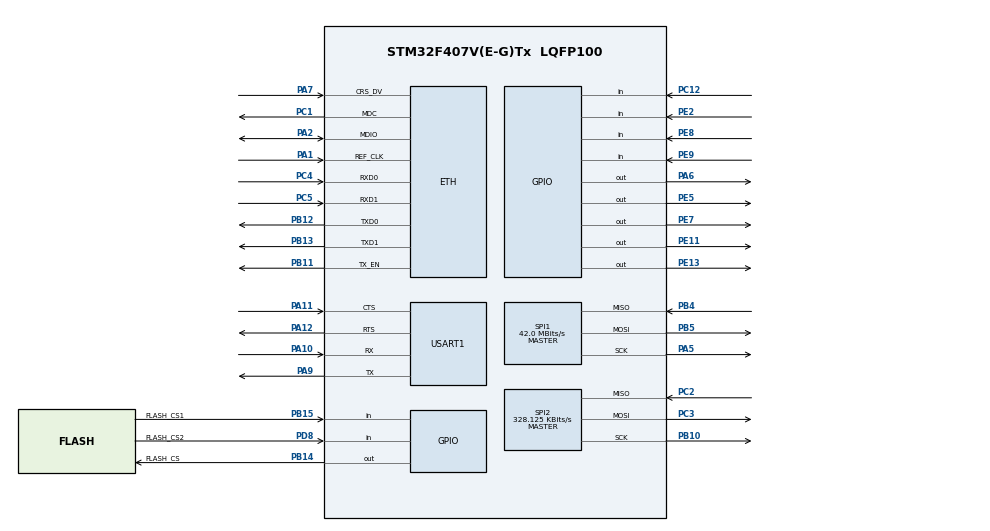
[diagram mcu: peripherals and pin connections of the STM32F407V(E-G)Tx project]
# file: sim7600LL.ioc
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Dma.Request0=USART1_RX
Dma.USART1_RX.0.Direction=DMA_PERIPH_TO_MEMORY
Dma.USART1_RX.0.FIFOMode=DMA_FIFOMODE_DISABLE
Dma.USART1_RX.0.Instance=DMA2_Stream2
Dma.USART1_RX.0.MemDataAlignment=DMA_MDATAALIGN_BYTE
Dma.USART1_RX.0.MemInc=DMA_MINC_ENABLE
Dma.USART1_RX.0.Mode=DMA_CIRCULAR
Dma.USART1_RX.0.PeriphDataAlignment=DMA_PDATAALIGN_BYTE
Dma.USART1_RX.0.PeriphInc=DMA_PINC_DISABLE
Dma.USART1_RX.0.Priority=DMA_PRIORITY_VERY_HIGH
ETH.MediaInterface=ETH_MEDIA_INTERFACE_RMII
FREERTOS.BinarySemaphores01=InitBinSem,Dynamic,NULL
FREERTOS.CountingSemaphores01=InitCountSem,2,Dynamic,NULL
FREERTOS.Events01=InitEvent,Dynamic,NULL
FREERTOS.Queues01=InitQueue,16,uint16_t,0,Dynamic,NULL,NULL
FREERTOS.Tasks01=defaultTask,24,256,StartDefaultTask,Default,NULL,Dynamic,NULL,NULL
FREERTOS.Timers01=InitTimerPeriodic,CallbackTimerPeriodic,osTimerPeriodic,Default,NULL,Dynamic,NULL;InitTimerOnce,CallbackTimerOnce,osTimerOnce,Default,NULL,Dynamic,NULL
FREERTOS.configGENERATE_RUN_TIME_STATS=1
FREERTOS.configRECORD_STACK_HIGH_ADDRESS=1
FREERTOS.configTOTAL_HEAP_SIZE=20360
FREERTOS.configUSE_NEWLIB_REENTRANT=1
FREERTOS.configUSE_STATS_FORMATTING_FUNCTIONS=1
FREERTOS.configUSE_TRACE_FACILITY=1
LWIP.LWIP_DNS=1
LWIP.MEMP_NUM_TCP_PCB=4
LWIP.Version=v2.1.2_Cube
Mcu.Family=STM32F4
Mcu.Name=STM32F407V(E-G)Tx
Mcu.Package=LQFP100
NVIC.DMA2_Stream2_IRQn=true\:5\:0\:false\:false\:true\:true\:false\:true
NVIC.ETH_IRQn=true\:5\:0\:false\:false\:true\:true\:false\:true
NVIC.PriorityGroup=NVIC_PRIORITYGROUP_4
NVIC.TIM1_UP_TIM10_IRQn=true\:15\:0\:false\:false\:true\:false\:false\:true
NVIC.TIM8_UP_TIM13_IRQn=true\:5\:0\:false\:false\:true\:true\:true\:true
NVIC.TimeBase=TIM1_UP_TIM10_IRQn
NVIC.TimeBaseIP=TIM1
PA1.Mode=RMII
PA1.Signal=ETH_REF_CLK
PA10.Mode=Asynchronous
PA10.Signal=USART1_RX
PA11.Mode=CTS_RTS
PA11.Signal=USART1_CTS
PA12.Mode=CTS_RTS
PA12.Signal=USART1_RTS
PA2.Mode=RMII
PA2.Signal=ETH_MDIO
PA5.Mode=Full_Duplex_Master
PA5.Signal=SPI1_SCK
PA6.PinState=GPIO_PIN_SET
PA6.Signal=GPIO_Output
PA7.Mode=RMII
PA7.Signal=ETH_CRS_DV
PA9.Mode=Asynchronous
PA9.Signal=USART1_TX
PB10.Mode=Full_Duplex_Master
PB10.Signal=SPI2_SCK
PB11.Mode=RMII
PB11.Signal=ETH_TX_EN
PB12.Mode=RMII
PB12.Signal=ETH_TXD0
PB13.Mode=RMII
PB13.Signal=ETH_TXD1
PB14.GPIO_Label=FLASH_CS
PB14.GPIO_PuPd=GPIO_PULLUP
PB14.GPIO_Speed=GPIO_SPEED_FREQ_VERY_HIGH
PB14.PinState=GPIO_PIN_SET
PB14.Signal=GPIO_Output
PB15.GPIO_Label=FLASH_CS1
PB15.Signal=GPIO_Input
PB4.Mode=Full_Duplex_Master
PB4.Signal=SPI1_MISO
PB5.Mode=Full_Duplex_Master
PB5.Signal=SPI1_MOSI
PC1.Mode=RMII
PC1.Signal=ETH_MDC
PC12.GPIO_PuPd=GPIO_PULLDOWN
PC12.Signal=GPIO_Input
PC2.Mode=Full_Duplex_Master
PC2.Signal=SPI2_MISO
PC3.Mode=Full_Duplex_Master
PC3.Signal=SPI2_MOSI
PC4.Mode=RMII
PC4.Signal=ETH_RXD0
PC5.Mode=RMII
PC5.Signal=ETH_RXD1
PD8.GPIO_Label=FLASH_CS2
PD8.Signal=GPIO_Input
PE11.GPIO_Speed=GPIO_SPEED_FREQ_VERY_HIGH
PE11.PinState=GPIO_PIN_SET
PE11.Signal=GPIO_Output
PE13.GPIO_Speed=GPIO_SPEED_FREQ_VERY_HIGH
PE13.PinState=GPIO_PIN_SET
PE13.Signal=GPIO_Output
PE2.Signal=GPIO_Input
PE5.Signal=GPIO_Output
PE7.GPIO_Speed=GPIO_SPEED_FREQ_VERY_HIGH
PE7.PinState=GPIO_PIN_SET
PE7.Signal=GPIO_Output
PE8.Signal=GPIO_Input
PE9.Signal=GPIO_Input
PH0-OSC_IN.Mode=HSE-External-Oscillator
PH0-OSC_IN.Signal=RCC_OSC_IN
PH1-OSC_OUT.Mode=HSE-External-Oscillator
PH1-OSC_OUT.Signal=RCC_OSC_OUT
ProjectManager.HeapSize=0x200
ProjectManager.StackSize=0x400
ProjectManager.TargetToolchain=STM32CubeIDE
RCC.48MHZClocksFreq_Value=84000000
RCC.AHBFreq_Value=168000000
RCC.APB1CLKDivider=RCC_HCLK_DIV4
RCC.APB1Freq_Value=42000000
RCC.APB1TimFreq_Value=84000000
RCC.APB2CLKDivider=RCC_HCLK_DIV2
RCC.APB2Freq_Value=84000000
RCC.APB2TimFreq_Value=168000000
RCC.CortexFreq_Value=168000000
RCC.HCLKFreq_Value=168000000
RCC.HSE_VALUE=8000000
RCC.HSI_VALUE=16000000
RCC.LSE_VALUE=32768
RCC.PLLM=4
RCC.PLLN=168
RCC.PLLSourceVirtual=RCC_PLLSOURCE_HSE
RCC.SYSCLKFreq_VALUE=168000000
RCC.SYSCLKSource=RCC_SYSCLKSOURCE_PLLCLK
RCC.VCOOutputFreq_Value=336000000
SPI1.CalculateBaudRate=42.0 MBits/s
SPI1.Direction=SPI_DIRECTION_2LINES
SPI1.Mode=SPI_MODE_MASTER
SPI1.VirtualType=VM_MASTER
SPI2.BaudRatePrescaler=SPI_BAUDRATEPRESCALER_128
SPI2.CLKPhase=SPI_PHASE_2EDGE
SPI2.CLKPolarity=SPI_POLARITY_HIGH
SPI2.CalculateBaudRate=328.125 KBits/s
SPI2.Direction=SPI_DIRECTION_2LINES
SPI2.Mode=SPI_MODE_MASTER
SPI2.VirtualType=VM_MASTER
TIM2.Prescaler=41999
TIM8.Period=1679
USART1.Parity=PARITY_EVEN
USART1.VirtualMode=VM_ASYNC
VP_FREERTOS_VS_CMSIS_V2.Mode=CMSIS_V2
VP_LWIP_VS_Enabled.Mode=Enabled
VP_SYS_VS_tim1.Mode=TIM1
VP_TIM2_VS_ClockSourceINT.Mode=Internal
VP_TIM8_VS_ClockSourceINT.Mode=Internal
board=custom

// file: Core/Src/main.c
/* USER CODE BEGIN Header */
/**
  ******************************************************************************
  * @file           : main.c
  * @brief          : Main program body
  ******************************************************************************
  * @attention
  *
  * <h2><center>&copy; Copyright (c) 2021 STMicroelectronics.
  * All rights reserved.</center></h2>
  *
  * This software component is licensed by ST under Ultimate Liberty license
  * SLA0044, the "License"; You may not use this file except in compliance with
  * the License. You may obtain a copy of the License at:
  *                             www.st.com/SLA0044
  *
  ******************************************************************************
  */
/* USER CODE END Header */
#include "main.h"
#include "cmsis_os.h"
#include "lwip.h"

/* USER CODE BEGIN Includes */
#include "sim7600_uart_dma.h"
#include "tcp_udp_stack.h"
#include "rsa.h"
#include "AES_128.h"
#include "md5.h"
#include "ethLAN.h"
#include "vs1063a.h"
#include "w25qxx.h"
/* USER CODE END Includes */

/* USER CODE BEGIN PTD */
uint8_t bufferwq1[8] = {0,2,3,4,5,6,0,255};
uint8_t bufferwq2[8] = {0};
/* USER CODE END PTD */

SPI_HandleTypeDef hspi1;
SPI_HandleTypeDef hspi2;

TIM_HandleTypeDef htim2;
TIM_HandleTypeDef htim8;

/* Definitions for defaultTask */
osThreadId_t defaultTaskHandle;
const osThreadAttr_t defaultTask_attributes = {
  .name = "defaultTask",
  .stack_size = 256 * 4,
  .priority = (osPriority_t) osPriorityNormal,
};
/* Definitions for InitQueue */
osMessageQueueId_t InitQueueHandle;
const osMessageQueueAttr_t InitQueue_attributes = {
  .name = "InitQueue"
};
/* Definitions for InitTimerPeriodic */
osTimerId_t InitTimerPeriodicHandle;
const osTimerAttr_t InitTimerPeriodic_attributes = {
  .name = "InitTimerPeriodic"
};
/* Definitions for InitTimerOnce */
osTimerId_t InitTimerOnceHandle;
const osTimerAttr_t InitTimerOnce_attributes = {
  .name = "InitTimerOnce"
};
/* Definitions for InitBinSem */
osSemaphoreId_t InitBinSemHandle;
const osSemaphoreAttr_t InitBinSem_attributes = {
  .name = "InitBinSem"
};
/* Definitions for InitCountSem */
osSemaphoreId_t InitCountSemHandle;
const osSemaphoreAttr_t InitCountSem_attributes = {
  .name = "InitCountSem"
};
/* Definitions for InitEvent */
osEventFlagsId_t InitEventHandle;
const osEventFlagsAttr_t InitEvent_attributes = {
  .name = "InitEvent"
};
/* USER CODE BEGIN PV */

///// Task  ////
osThreadId_t configSimTaskHandle;
const osThreadAttr_t configSimTask_attributes = {
  .name = "configSimTask",
  .stack_size = 128 * 8,
  .priority = (osPriority_t) osPriorityHigh3,
};

osThreadId_t connectSimTaskHandle;
const osThreadAttr_t connectSimTask_attributes = {
  .name = "connectSimTask",
  .stack_size = 128 * 8,
  .priority = (osPriority_t) osPriorityHigh2,
};

osThreadId_t sendSimTaskHandle;
const osThreadAttr_t sendSimTask_attributes = {
  .name = "sendSimTask",
  .stack_size = 128 * 8,
  .priority = (osPriority_t) osPriorityHigh1,
};

osThreadId_t recvSimTaskHandle;
const osThreadAttr_t recvSimTask_attributes = {
  .name = "recvSimTask",
  .stack_size = 1024 * 4 ,
  .priority = (osPriority_t) osPriorityRealtime,
};

osThreadId_t connectEthTaskId;
const osThreadAttr_t connectEthTask_attributes = {
  .name = "connectEthTask",
  .stack_size = 1024 * 4,
  .priority = (osPriority_t) osPriorityHigh,
};

osThreadId_t sendEthTaskId;
const osThreadAttr_t sendEthTask_attributes = {
  .name = "sendEthTask",
  .stack_size = 256 * 4,
  .priority = (osPriority_t) osPriorityHigh,
};

osThreadId_t recvEthTaskId;
const osThreadAttr_t recvEthTask_attributes = {
  .name = "recvEthTask",
  .stack_size = 1024 * 4 ,
  .priority = (osPriority_t) osPriorityHigh,
};

osThreadId_t vs1063TaskId;
const osThreadAttr_t vs1063Task_attributes = {
  .name = "vs1063Task",
  .stack_size = 256 * 4 ,
  .priority = (osPriority_t) osPriorityHigh, //==recvETH recvSim task
};
////////////////////////////////////////

/// Event flags  ///

/* bit order  4 3 2 1 0 , priority MSB->LSB
              firstConfig NetError  Calling sendErrorOrIPclose Message
*/
// enum configSimFlagEnum {msg, calling, netError, firstConfig}; //in sim7600 .h
osEventFlagsId_t ConfigSimEventID;
const osEventFlagsAttr_t ConfigSimEvent_attributes = {
  .name = "ConfigSimEvent"
};

//recvACK recvRSA reconnect
//2 1 0
// enum connectSimFlagEnum {reConEnum, recvRSAEnum, recvACKEnum}; //in sim7600 .h

osEventFlagsId_t ConnectSimEventID;
const osEventFlagsAttr_t ConnectSimEvent_attributes = {
  .name = "ConnectSimEvent"
};

/* bit order  0
              sendSuccess
*/
osEventFlagsId_t SendSimEventID;
const osEventFlagsAttr_t SendSimEvent_attributes = {
  .name = "SendSimEvent"
};

osEventFlagsId_t ConnectEthEventID;
const osEventFlagsAttr_t ConnectEthEvent_attributes = {
  .name = "ConnectEthEvent"
};

////////////////////////

/// Semaphore ///
osSemaphoreId_t SimATBinSem;
const osSemaphoreAttr_t SimATBinSem_attributes = {
  .name = "SimATBinSem"
};
////////////////////////

//// Message queue //
osMessageQueueId_t SendSimQueueID;
const osMessageQueueAttr_t SendSimQueue_attributes = {
  .name = "SendSimQueue"
};

osMessageQueueId_t SendEthQueueID;
const osMessageQueueAttr_t SendEthQueue_attributes = {
  .name = "SendEthQueue"
};
//////////////////////////

///// mutex ///////////
osMutexId_t spiFlash_mtID;
const osMutexAttr_t spiFlash_mtAttr = {
  .name="spiFlash"                          // human readable mutex name
};

osMutexId_t buffTcpPacket_mtID;
const osMutexAttr_t buffTcpPacket_mtAttr = {
  .name="buff_tcppacket"                          // human readable mutex name
};
//  .attr_bits=osMutexPrioInherit | osMutexRobust,    // attr_bits
//  .cb_mem=NULL,                                     // memory for control block
//  .cb_size=0U                                        // size for control block
//};
//////////////////////////

///// timer ///////////
osTimerId_t TCPTimerOnceID; //timer for time-out handshake and KeepAlive

//debug
osTimerId_t SttCheckTimerID; //timer for check sim status
#define STT_CHECK_TIMER_INTERVAL 10 //ms
int oldSimStt = -1;
void SimStt_Timer_Callback(void *argument)
{
  if(Sim_STT != oldSimStt)
  {
    oldSimStt = Sim_STT;
    LOG_WRITE("sim status %d\n", oldSimStt);
  }
}

///////////////////////

////////////////////////

/* USER CODE END PV */

void SystemClock_Config(void);
static void MX_GPIO_Init(void);
static void MX_DMA_Init(void);
static void MX_USART1_UART_Init(void);
static void MX_TIM2_Init(void);
static void MX_TIM8_Init(void);
static void MX_SPI2_Init(void);
static void MX_SPI1_Init(void);
void StartDefaultTask(void *argument);
void CallbackTimerPeriodic(void *argument);
void CallbackTimerOnce(void *argument);

/* USER CODE BEGIN PFP */
//char* DeviceID = "123456781234567812345679";
char* DeviceID =   "000000000000000220300002";
// #if DEBUG_LOG
int _write(int32_t file, uint8_t *ptr, int32_t len)
{
    for (int i = 0; i < len; i++)
    {
        ITM_SendChar(*ptr++);
    }
    return len;
}
// extern void initialise_monitor_handles();
// #endif

volatile unsigned long ulHighFrequencyTimerTicks;

void configureTimerForRunTimeStats(void) {
  ulHighFrequencyTimerTicks = 0;
  HAL_TIM_Base_Start_IT(&htim8);
}

unsigned long getRunTimeCounterValue(void) {
  return ulHighFrequencyTimerTicks;
}
/* USER CODE END PFP */

/* USER CODE BEGIN 0 */
extern struct netif gnetif;

  //sim
void StartConfigSimTask(void *argument);
void StartConnectSimTask(void *argument);
void StartSendSimTask(void *argument);
void StartRecvSimTask(void *argument);

  //eth
void StartConnectEthTask(void *argument);
void StartSendEthTask(void *argument);
void StartRecvEthTask(void *argument);

void StartVs1063Task(void *argument);
/* USER CODE END 0 */

int main(void)
{

  /* MCU Configuration--------------------------------------------------------*/

  /* Reset of all peripherals, Initializes the Flash interface and the Systick. */
  HAL_Init();

  /* USER CODE BEGIN Init */
  // initialise_monitor_handles();
  /* USER CODE END Init */

  /* Configure the system clock */
  SystemClock_Config();

  /* USER CODE BEGIN SysInit */
  //HAL_Delay(30000); //wait for debug
  /* USER CODE END SysInit */

  /* Initialize all configured peripherals */
  MX_GPIO_Init();
  MX_DMA_Init();
  MX_USART1_UART_Init();
  MX_TIM2_Init();
  MX_TIM8_Init();
  MX_SPI2_Init();
  MX_SPI1_Init();
  /* USER CODE BEGIN 2 */
//  W25qxx_Init();
//  W25qxx_EraseSector(0);
//  W25qxx_EraseSector(1);
//  W25qxx_EraseSector(2);
//  W25qxx_EraseSector(3);
//  log_init();
//   int jj;
//   for(jj = 0; jj < 1000; jj++) {
//     log_to_flash("hello everyone, my name is bom, how are you\n");
//     if(jj > 0 && jj % 10 == 0) {
//       log_do_erase();
////       W25qxx_WaitBusy(0);
//     }
//   }
//  log_to_flash("hello everyone, my name is bom, how are you\n");
//  log_to_flash("hello everyone, my name is bom, how are you\n");
//  log_to_flash("hello everyone, my name is bom, how are you\n");
//  log_to_flash("hello everyone, my name is bom, how are you\n");
//  log_to_flash("hello everyone, my name is bom, how are you\n");
  char buff_rd[4096];
  int ii;
  W25qxx_ReadSector(buff_rd, 0, 0, 0);
  for(ii = 0; ii < 4096; ii++) {
    printf("%c", buff_rd[ii]);
  }
  printf("\n");
  W25qxx_ReadSector(buff_rd, 1, 0, 0);
  for(ii = 0; ii < 4096; ii++) {
    printf("%c", buff_rd[ii]);
  }
  printf("\n");
  W25qxx_ReadSector(buff_rd, 2, 0, 0);
  for(ii = 0; ii < 4096; ii++) {
    printf("%c", buff_rd[ii]);
  }
  printf("\n");
  W25qxx_ReadSector(buff_rd, 3, 0, 0);
  for(ii = 0; ii < 4096; ii++) {
    printf("%c", buff_rd[ii]);
  }
  printf("\n");
  printf("\n");

  HAL_TIM_Base_Start(&htim2);
  configureTimerForRunTimeStats();

  /* USER CODE END 2 */

  /* Init scheduler */
  osKernelInitialize();

  /* USER CODE BEGIN RTOS_MUTEX */
  /* add mutexes, ... */
  spiFlash_mtID = osMutexNew(&spiFlash_mtAttr);
  buffTcpPacket_mtID = osMutexNew(&buffTcpPacket_mtAttr);
  /* USER CODE END RTOS_MUTEX */

  /* Create the semaphores(s) */
  /* creation of InitBinSem */
  InitBinSemHandle = osSemaphoreNew(1, 1, &InitBinSem_attributes);

  /* creation of InitCountSem */
  InitCountSemHandle = osSemaphoreNew(2, 2, &InitCountSem_attributes);

  /* USER CODE BEGIN RTOS_SEMAPHORES */
  /* add semaphores, ... */
  SimATBinSem = osSemaphoreNew(1, 1, &SimATBinSem_attributes);
  /* USER CODE END RTOS_SEMAPHORES */

  /* Create the timer(s) */
  /* creation of InitTimerPeriodic */
  InitTimerPeriodicHandle = osTimerNew(CallbackTimerPeriodic, osTimerPeriodic, NULL, &InitTimerPeriodic_attributes);

  /* creation of InitTimerOnce */
  InitTimerOnceHandle = osTimerNew(CallbackTimerOnce, osTimerOnce, NULL, &InitTimerOnce_attributes);

  /* USER CODE BEGIN RTOS_TIMERS */
  /* start timers, add new ones, ... */
  TCPTimerOnceID = osTimerNew(TCP_Timer_Callback, osTimerOnce, NULL, NULL);
  SttCheckTimerID = osTimerNew(SimStt_Timer_Callback, osTimerPeriodic, NULL, NULL);
  /* USER CODE END RTOS_TIMERS */

  /* Create the queue(s) */
  /* creation of InitQueue */
  InitQueueHandle = osMessageQueueNew (16, sizeof(uint16_t), &InitQueue_attributes);

  /* Create the thread(s) */
  /* creation of defaultTask */
  defaultTaskHandle = osThreadNew(StartDefaultTask, NULL, &defaultTask_attributes);

  /* Create the event(s) */
  /* creation of InitEvent */
  InitEventHandle = osEventFlagsNew(&InitEvent_attributes);

  /* USER CODE BEGIN RTOS_EVENTS */
  /* add events, ... */

  // SendEthEventID = osEventFlagsNew(&SendEthEvent_attributes);

  /* USER CODE END RTOS_EVENTS */

  /* Start scheduler */
  osKernelStart();

  /* We should never get here as control is now taken by the scheduler */
  /* Infinite loop */
  /* USER CODE BEGIN WHILE */
//  VS1063_Init();
//  VS1063_SoftReset();
  while (1)
  {
//	  VS1063_PlayBeep();
//	  HAL_Delay(500);
    /* USER CODE END WHILE */

  }
}

void SystemClock_Config(void)
{
  LL_FLASH_SetLatency(LL_FLASH_LATENCY_5);
  while(LL_FLASH_GetLatency()!= LL_FLASH_LATENCY_5)
  {
  }
  LL_PWR_SetRegulVoltageScaling(LL_PWR_REGU_VOLTAGE_SCALE1);
  LL_RCC_HSE_Enable();

   /* Wait till HSE is ready */
  while(LL_RCC_HSE_IsReady() != 1)
  {

  }
  LL_RCC_PLL_ConfigDomain_SYS(LL_RCC_PLLSOURCE_HSE, LL_RCC_PLLM_DIV_4, 168, LL_RCC_PLLP_DIV_2);
  LL_RCC_PLL_Enable();

   /* Wait till PLL is ready */
  while(LL_RCC_PLL_IsReady() != 1)
  {

  }
  LL_RCC_SetAHBPrescaler(LL_RCC_SYSCLK_DIV_1);
  LL_RCC_SetAPB1Prescaler(LL_RCC_APB1_DIV_4);
  LL_RCC_SetAPB2Prescaler(LL_RCC_APB2_DIV_2);
  LL_RCC_SetSysClkSource(LL_RCC_SYS_CLKSOURCE_PLL);

   /* Wait till System clock is ready */
  while(LL_RCC_GetSysClkSource() != LL_RCC_SYS_CLKSOURCE_STATUS_PLL)
  {

  }
  LL_SetSystemCoreClock(168000000);

   /* Update the time base */
  if (HAL_InitTick (TICK_INT_PRIORITY) != HAL_OK)
  {
    Error_Handler();
  }
}

static void MX_SPI1_Init(void)
{

  /* SPI1 parameter configuration*/
  hspi1.Instance = SPI1;
  hspi1.Init.Mode = SPI_MODE_MASTER;
  hspi1.Init.Direction = SPI_DIRECTION_2LINES;
  hspi1.Init.DataSize = SPI_DATASIZE_8BIT;
  hspi1.Init.CLKPolarity = SPI_POLARITY_LOW;
  hspi1.Init.CLKPhase = SPI_PHASE_1EDGE;
  hspi1.Init.NSS = SPI_NSS_SOFT;
  hspi1.Init.BaudRatePrescaler = SPI_BAUDRATEPRESCALER_2;
  hspi1.Init.FirstBit = SPI_FIRSTBIT_MSB;
  hspi1.Init.TIMode = SPI_TIMODE_DISABLE;
  hspi1.Init.CRCCalculation = SPI_CRCCALCULATION_DISABLE;
  hspi1.Init.CRCPolynomial = 10;
  if (HAL_SPI_Init(&hspi1) != HAL_OK)
  {
    Error_Handler();
  }

}

static void MX_SPI2_Init(void)
{

  /* SPI2 parameter configuration*/
  hspi2.Instance = SPI2;
  hspi2.Init.Mode = SPI_MODE_MASTER;
  hspi2.Init.Direction = SPI_DIRECTION_2LINES;
  hspi2.Init.DataSize = SPI_DATASIZE_8BIT;
  hspi2.Init.CLKPolarity = SPI_POLARITY_HIGH;
  hspi2.Init.CLKPhase = SPI_PHASE_2EDGE;
  hspi2.Init.NSS = SPI_NSS_SOFT;
  hspi2.Init.BaudRatePrescaler = SPI_BAUDRATEPRESCALER_128;
  hspi2.Init.FirstBit = SPI_FIRSTBIT_MSB;
  hspi2.Init.TIMode = SPI_TIMODE_DISABLE;
  hspi2.Init.CRCCalculation = SPI_CRCCALCULATION_DISABLE;
  hspi2.Init.CRCPolynomial = 10;
  if (HAL_SPI_Init(&hspi2) != HAL_OK)
  {
    Error_Handler();
  }

}

static void MX_TIM2_Init(void)
{

  TIM_ClockConfigTypeDef sClockSourceConfig = {0};
  TIM_MasterConfigTypeDef sMasterConfig = {0};

  htim2.Instance = TIM2;
  htim2.Init.Prescaler = 41999;
  htim2.Init.CounterMode = TIM_COUNTERMODE_UP;
  htim2.Init.Period = 4294967295;
  htim2.Init.ClockDivision = TIM_CLOCKDIVISION_DIV1;
  htim2.Init.AutoReloadPreload = TIM_AUTORELOAD_PRELOAD_DISABLE;
  if (HAL_TIM_Base_Init(&htim2) != HAL_OK)
  {
    Error_Handler();
  }
  sClockSourceConfig.ClockSource = TIM_CLOCKSOURCE_INTERNAL;
  if (HAL_TIM_ConfigClockSource(&htim2, &sClockSourceConfig) != HAL_OK)
  {
    Error_Handler();
  }
  sMasterConfig.MasterOutputTrigger = TIM_TRGO_RESET;
  sMasterConfig.MasterSlaveMode = TIM_MASTERSLAVEMODE_DISABLE;
  if (HAL_TIMEx_MasterConfigSynchronization(&htim2, &sMasterConfig) != HAL_OK)
  {
    Error_Handler();
  }

}

static void MX_TIM8_Init(void)
{

  TIM_ClockConfigTypeDef sClockSourceConfig = {0};
  TIM_MasterConfigTypeDef sMasterConfig = {0};

  htim8.Instance = TIM8;
  htim8.Init.Prescaler = 0;
  htim8.Init.CounterMode = TIM_COUNTERMODE_UP;
  htim8.Init.Period = 1679;
  htim8.Init.ClockDivision = TIM_CLOCKDIVISION_DIV1;
  htim8.Init.RepetitionCounter = 0;
  htim8.Init.AutoReloadPreload = TIM_AUTORELOAD_PRELOAD_DISABLE;
  if (HAL_TIM_Base_Init(&htim8) != HAL_OK)
  {
    Error_Handler();
  }
  sClockSourceConfig.ClockSource = TIM_CLOCKSOURCE_INTERNAL;
  if (HAL_TIM_ConfigClockSource(&htim8, &sClockSourceConfig) != HAL_OK)
  {
    Error_Handler();
  }
  sMasterConfig.MasterOutputTrigger = TIM_TRGO_RESET;
  sMasterConfig.MasterSlaveMode = TIM_MASTERSLAVEMODE_DISABLE;
  if (HAL_TIMEx_MasterConfigSynchronization(&htim8, &sMasterConfig) != HAL_OK)
  {
    Error_Handler();
  }

}

static void MX_USART1_UART_Init(void)
{

  LL_USART_InitTypeDef USART_InitStruct = {0};

  LL_GPIO_InitTypeDef GPIO_InitStruct = {0};

  /* Peripheral clock enable */
  LL_APB2_GRP1_EnableClock(LL_APB2_GRP1_PERIPH_USART1);

  LL_AHB1_GRP1_EnableClock(LL_AHB1_GRP1_PERIPH_GPIOA);
  /**USART1 GPIO Configuration
  PA9   ------> USART1_TX
  PA10   ------> USART1_RX
  PA11   ------> USART1_CTS
  PA12   ------> USART1_RTS
  */
  GPIO_InitStruct.Pin = LL_GPIO_PIN_9|LL_GPIO_PIN_10|LL_GPIO_PIN_11|LL_GPIO_PIN_12;
  GPIO_InitStruct.Mode = LL_GPIO_MODE_ALTERNATE;
  GPIO_InitStruct.Speed = LL_GPIO_SPEED_FREQ_VERY_HIGH;
  GPIO_InitStruct.OutputType = LL_GPIO_OUTPUT_PUSHPULL;
  GPIO_InitStruct.Pull = LL_GPIO_PULL_NO;
  GPIO_InitStruct.Alternate = LL_GPIO_AF_7;
  LL_GPIO_Init(GPIOA, &GPIO_InitStruct);

  /* USART1 DMA Init */

  /* USART1_RX Init */
  LL_DMA_SetChannelSelection(DMA2, LL_DMA_STREAM_2, LL_DMA_CHANNEL_4);

  LL_DMA_SetDataTransferDirection(DMA2, LL_DMA_STREAM_2, LL_DMA_DIRECTION_PERIPH_TO_MEMORY);

  LL_DMA_SetStreamPriorityLevel(DMA2, LL_DMA_STREAM_2, LL_DMA_PRIORITY_VERYHIGH);

  LL_DMA_SetMode(DMA2, LL_DMA_STREAM_2, LL_DMA_MODE_CIRCULAR);

  LL_DMA_SetPeriphIncMode(DMA2, LL_DMA_STREAM_2, LL_DMA_PERIPH_NOINCREMENT);

  LL_DMA_SetMemoryIncMode(DMA2, LL_DMA_STREAM_2, LL_DMA_MEMORY_INCREMENT);

  LL_DMA_SetPeriphSize(DMA2, LL_DMA_STREAM_2, LL_DMA_PDATAALIGN_BYTE);

  LL_DMA_SetMemorySize(DMA2, LL_DMA_STREAM_2, LL_DMA_MDATAALIGN_BYTE);

  LL_DMA_DisableFifoMode(DMA2, LL_DMA_STREAM_2);

  USART_InitStruct.BaudRate = 115200;
  USART_InitStruct.DataWidth = LL_USART_DATAWIDTH_8B;
  USART_InitStruct.StopBits = LL_USART_STOPBITS_1;
  USART_InitStruct.Parity = LL_USART_PARITY_EVEN;
  USART_InitStruct.TransferDirection = LL_USART_DIRECTION_TX_RX;
  USART_InitStruct.HardwareFlowControl = LL_USART_HWCONTROL_RTS_CTS;
  USART_InitStruct.OverSampling = LL_USART_OVERSAMPLING_16;
  LL_USART_Init(USART1, &USART_InitStruct);
  LL_USART_ConfigAsyncMode(USART1);
  LL_USART_Enable(USART1);

}

static void MX_DMA_Init(void)
{

  /* Init with LL driver */
  /* DMA controller clock enable */
  LL_AHB1_GRP1_EnableClock(LL_AHB1_GRP1_PERIPH_DMA2);

  /* DMA interrupt init */
  /* DMA2_Stream2_IRQn interrupt configuration */
  NVIC_SetPriority(DMA2_Stream2_IRQn, NVIC_EncodePriority(NVIC_GetPriorityGrouping(),5, 0));
  NVIC_EnableIRQ(DMA2_Stream2_IRQn);

}

static void MX_GPIO_Init(void)
{
  LL_GPIO_InitTypeDef GPIO_InitStruct = {0};

  /* GPIO Ports Clock Enable */
  LL_AHB1_GRP1_EnableClock(LL_AHB1_GRP1_PERIPH_GPIOE);
  LL_AHB1_GRP1_EnableClock(LL_AHB1_GRP1_PERIPH_GPIOH);
  LL_AHB1_GRP1_EnableClock(LL_AHB1_GRP1_PERIPH_GPIOC);
  LL_AHB1_GRP1_EnableClock(LL_AHB1_GRP1_PERIPH_GPIOA);
  LL_AHB1_GRP1_EnableClock(LL_AHB1_GRP1_PERIPH_GPIOB);
  LL_AHB1_GRP1_EnableClock(LL_AHB1_GRP1_PERIPH_GPIOD);

  /**/
  LL_GPIO_ResetOutputPin(GPIOE, LL_GPIO_PIN_5);

  /**/
  LL_GPIO_SetOutputPin(GPIOA, LL_GPIO_PIN_6);

  /**/
  LL_GPIO_SetOutputPin(GPIOE, LL_GPIO_PIN_7|LL_GPIO_PIN_11|LL_GPIO_PIN_13);

  /**/
  LL_GPIO_SetOutputPin(FLASH_CS_GPIO_Port, FLASH_CS_Pin);

  /**/
  GPIO_InitStruct.Pin = LL_GPIO_PIN_2|LL_GPIO_PIN_8|LL_GPIO_PIN_9;
  GPIO_InitStruct.Mode = LL_GPIO_MODE_INPUT;
  GPIO_InitStruct.Pull = LL_GPIO_PULL_NO;
  LL_GPIO_Init(GPIOE, &GPIO_InitStruct);

  /**/
  GPIO_InitStruct.Pin = LL_GPIO_PIN_5;
  GPIO_InitStruct.Mode = LL_GPIO_MODE_OUTPUT;
  GPIO_InitStruct.Speed = LL_GPIO_SPEED_FREQ_LOW;
  GPIO_InitStruct.OutputType = LL_GPIO_OUTPUT_PUSHPULL;
  GPIO_InitStruct.Pull = LL_GPIO_PULL_NO;
  LL_GPIO_Init(GPIOE, &GPIO_InitStruct);

  /**/
  GPIO_InitStruct.Pin = LL_GPIO_PIN_6;
  GPIO_InitStruct.Mode = LL_GPIO_MODE_OUTPUT;
  GPIO_InitStruct.Speed = LL_GPIO_SPEED_FREQ_LOW;
  GPIO_InitStruct.OutputType = LL_GPIO_OUTPUT_PUSHPULL;
  GPIO_InitStruct.Pull = LL_GPIO_PULL_NO;
  LL_GPIO_Init(GPIOA, &GPIO_InitStruct);

  /**/
  GPIO_InitStruct.Pin = LL_GPIO_PIN_7|LL_GPIO_PIN_11|LL_GPIO_PIN_13;
  GPIO_InitStruct.Mode = LL_GPIO_MODE_OUTPUT;
  GPIO_InitStruct.Speed = LL_GPIO_SPEED_FREQ_VERY_HIGH;
  GPIO_InitStruct.OutputType = LL_GPIO_OUTPUT_PUSHPULL;
  GPIO_InitStruct.Pull = LL_GPIO_PULL_NO;
  LL_GPIO_Init(GPIOE, &GPIO_InitStruct);

  /**/
  GPIO_InitStruct.Pin = FLASH_CS_Pin;
  GPIO_InitStruct.Mode = LL_GPIO_MODE_OUTPUT;
  GPIO_InitStruct.Speed = LL_GPIO_SPEED_FREQ_VERY_HIGH;
  GPIO_InitStruct.OutputType = LL_GPIO_OUTPUT_PUSHPULL;
  GPIO_InitStruct.Pull = LL_GPIO_PULL_UP;
  LL_GPIO_Init(FLASH_CS_GPIO_Port, &GPIO_InitStruct);

  /**/
  GPIO_InitStruct.Pin = FLASH_CS1_Pin;
  GPIO_InitStruct.Mode = LL_GPIO_MODE_INPUT;
  GPIO_InitStruct.Pull = LL_GPIO_PULL_NO;
  LL_GPIO_Init(FLASH_CS1_GPIO_Port, &GPIO_InitStruct);

  /**/
  GPIO_InitStruct.Pin = FLASH_CS2_Pin;
  GPIO_InitStruct.Mode = LL_GPIO_MODE_INPUT;
  GPIO_InitStruct.Pull = LL_GPIO_PULL_NO;
  LL_GPIO_Init(FLASH_CS2_GPIO_Port, &GPIO_InitStruct);

  /**/
  GPIO_InitStruct.Pin = LL_GPIO_PIN_12;
  GPIO_InitStruct.Mode = LL_GPIO_MODE_INPUT;
  GPIO_InitStruct.Pull = LL_GPIO_PULL_DOWN;
  LL_GPIO_Init(GPIOC, &GPIO_InitStruct);

}

/* USER CODE BEGIN 4 */

void StartConfigSimTask(void *argument)
{
	(void*) argument;
  //debug
  osTimerStart(SttCheckTimerID, STT_CHECK_TIMER_INTERVAL);

  sim7600_fullConfigTask();
//	AES_Generate_Rand_Key();
//  for(;;) {
//    RSA2048_Pubkey_Encrypt(NULL, 0, input, strlen(input), output);
//    AES_Encrypt_Packet(output, 250);
//    AES_Decrypt_Packet(output, 256);
//    osDelay(1000);
//  }
}

void StartConnectSimTask(void *argument)
{
	(void*) argument;
  sim7600_connectTask();
//	for(;;) {
//		osDelay(100);
//	}
}

void StartSendSimTask(void *argument)
{
  sim7600_sendTask();
//	for(;;) {
//			osDelay(100);
//		}
}
void StartRecvSimTask(void *argument)
{
  sim7600_recvTask();
//	for(;;) {
//			osDelay(100);
//		}
}

void StartConnectEthTask(void *argument)
{
  (void*) argument;
  ethConnectTask();
}

void StartSendEthTask(void *argument)
{
  (void*) argument;
  ethSendTask();
}
void StartRecvEthTask(void *argument)
{
  (void*) argument;
  ethRecvTask();
}

void StartVs1063Task(void *argument)
{
	(void*) argument;
	VS1063_PlayMP3_Task();
}
/* USER CODE END 4 */

void StartDefaultTask(void *argument)
{
  /* init code for LWIP */
  MX_LWIP_Init();
  /* USER CODE BEGIN 5 */
//	VS1063_Init();
//	while(true)
//	{
//		VS1063_PlayBeep();
//		osDelay(500);
//	}
  if (netif_is_link_up(&gnetif) == 0)
  // if (1)
  {
    //start with sim7600
    LOG_WRITE("sim7600 mode\n");

    ConfigSimEventID = osEventFlagsNew(&ConfigSimEvent_attributes);
    ConnectSimEventID = osEventFlagsNew(&ConnectSimEvent_attributes);
    SendSimEventID = osEventFlagsNew(&SendSimEvent_attributes);

    SendSimQueueID = osMessageQueueNew(5, sizeof(sendSimPack), &SendSimQueue_attributes);

    configSimTaskHandle = osThreadNew(StartConfigSimTask, NULL, &configSimTask_attributes);
    connectSimTaskHandle = osThreadNew(StartConnectSimTask, NULL, &connectSimTask_attributes);
    sendSimTaskHandle = osThreadNew(StartSendSimTask, NULL, &sendSimTask_attributes);
    recvSimTaskHandle = osThreadNew(StartRecvSimTask, NULL, &recvSimTask_attributes);
    vs1063TaskId = osThreadNew(StartVs1063Task, NULL, &vs1063Task_attributes);
  }
  else
  {
    //start with ETH
    LOG_WRITE("eth mode\n");

//    while(MX_LWIP_checkIsystem_ip_addr() == 0)
//        {
//        	osDelay(1000);
//        }

    ConnectEthEventID = osEventFlagsNew(&ConnectEthEvent_attributes);

    SendEthQueueID = osMessageQueueNew(5, sizeof(sendEthPack), &SendEthQueue_attributes);

    connectEthTaskId = osThreadNew(StartConnectEthTask, NULL, &connectEthTask_attributes);
    sendEthTaskId = osThreadNew(StartSendEthTask, NULL, &sendEthTask_attributes);
    // recvEthTaskId = osThreadNew(StartRecvEthTask, NULL, &recvEthTask_attributes);
    vs1063TaskId = osThreadNew(StartVs1063Task, NULL, &vs1063Task_attributes);
  }

  /* Infinite loop */
  for (;;)
  {
    osDelay(1000);
    HAL_GPIO_TogglePin(GPIOA, GPIO_PIN_6);
  }
  /* USER CODE END 5 */
}

/* CallbackTimerPeriodic function */
void CallbackTimerPeriodic(void *argument)
{
}

/* CallbackTimerOnce function */
void CallbackTimerOnce(void *argument)
{
}

void HAL_TIM_PeriodElapsedCallback(TIM_HandleTypeDef *htim)
{
  if (htim->Instance == TIM1) {
    HAL_IncTick();
  }
}

void Error_Handler(void)
{
  /* USER CODE BEGIN Error_Handler_Debug */
  /* User can add his own implementation to report the HAL error return state */
  __disable_irq();
  while (1)
  {
	  //blink led in special period, like on 0.5s, off 0.5s, on 0.5s, off 0.5s, on 0.5s, off 2s

  }
  /* USER CODE END Error_Handler_Debug */
}

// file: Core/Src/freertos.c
/* USER CODE BEGIN Header */
/**
  ******************************************************************************
  * File Name          : freertos.c
  * Description        : Code for freertos applications
  ******************************************************************************
  * @attention
  *
  * <h2><center>&copy; Copyright (c) 2021 STMicroelectronics.
  * All rights reserved.</center></h2>
  *
  * This software component is licensed by ST under Ultimate Liberty license
  * SLA0044, the "License"; You may not use this file except in compliance with
  * the License. You may obtain a copy of the License at:
  *                             www.st.com/SLA0044
  *
  ******************************************************************************
  */
/* USER CODE END Header */

#include "FreeRTOS.h"
#include "task.h"
#include "main.h"

/* Hook prototypes */
void configureTimerForRunTimeStats(void);
unsigned long getRunTimeCounterValue(void);

/* USER CODE BEGIN 1 */
/* Functions needed when configGENERATE_RUN_TIME_STATS is on */
__weak void configureTimerForRunTimeStats(void)
{

}

__weak unsigned long getRunTimeCounterValue(void)
{
return 0;
}
/* USER CODE END 1 */
